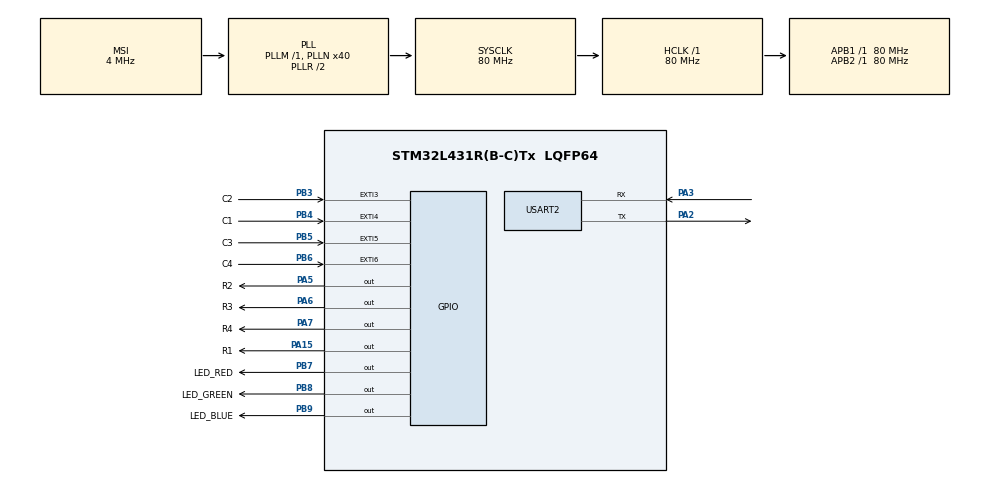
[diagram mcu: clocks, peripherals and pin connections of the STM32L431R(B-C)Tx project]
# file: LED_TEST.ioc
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Mcu.Family=STM32L4
Mcu.Name=STM32L431R(B-C)Tx
Mcu.Package=LQFP64
NVIC.EXTI3_IRQn=true\:1\:0\:true\:false\:true\:true\:true\:true
NVIC.EXTI4_IRQn=true\:1\:0\:true\:false\:true\:true\:true\:true
NVIC.EXTI9_5_IRQn=true\:1\:0\:true\:false\:true\:true\:true\:true
NVIC.PriorityGroup=NVIC_PRIORITYGROUP_4
NVIC.TIM6_DAC_IRQn=true\:0\:0\:false\:false\:true\:true\:true\:true
NVIC.USART2_IRQn=true\:1\:0\:true\:false\:true\:true\:true\:true
PA15\ (JTDI).GPIO_Label=R1
PA15\ (JTDI).PinState=GPIO_PIN_SET
PA15\ (JTDI).Signal=GPIO_Output
PA2.Mode=Asynchronous
PA2.Signal=USART2_TX
PA3.Mode=Asynchronous
PA3.Signal=USART2_RX
PA5.GPIO_Label=R2
PA5.PinState=GPIO_PIN_SET
PA5.Signal=GPIO_Output
PA6.GPIO_Label=R3
PA6.PinState=GPIO_PIN_SET
PA6.Signal=GPIO_Output
PA7.GPIO_Label=R4
PA7.PinState=GPIO_PIN_SET
PA7.Signal=GPIO_Output
PB3\ (JTDO-TRACESWO).GPIO_Label=C2
PB3\ (JTDO-TRACESWO).GPIO_ModeDefaultEXTI=GPIO_MODE_IT_RISING
PB3\ (JTDO-TRACESWO).GPIO_PuPd=GPIO_PULLDOWN
PB3\ (JTDO-TRACESWO).Signal=GPXTI3
PB4\ (NJTRST).GPIO_Label=C1
PB4\ (NJTRST).GPIO_ModeDefaultEXTI=GPIO_MODE_IT_RISING
PB4\ (NJTRST).GPIO_PuPd=GPIO_PULLDOWN
PB4\ (NJTRST).Signal=GPXTI4
PB5.GPIO_Label=C3
PB5.GPIO_ModeDefaultEXTI=GPIO_MODE_IT_RISING
PB5.GPIO_PuPd=GPIO_PULLDOWN
PB5.Signal=GPXTI5
PB6.GPIO_Label=C4
PB6.GPIO_ModeDefaultEXTI=GPIO_MODE_IT_RISING
PB6.GPIO_PuPd=GPIO_PULLDOWN
PB6.Signal=GPXTI6
PB7.GPIO_Label=LED_RED
PB7.GPIO_Speed=GPIO_SPEED_FREQ_LOW
PB7.PinState=GPIO_PIN_SET
PB7.Signal=GPIO_Output
PB8.GPIO_Label=LED_GREEN
PB8.GPIO_ModeDefaultOutputPP=GPIO_MODE_OUTPUT_PP
PB8.GPIO_PuPd=GPIO_NOPULL
PB8.PinState=GPIO_PIN_SET
PB8.Signal=GPIO_Output
PB9.GPIO_Label=LED_BLUE
PB9.GPIO_ModeDefaultOutputPP=GPIO_MODE_OUTPUT_PP
PB9.GPIO_PuPd=GPIO_NOPULL
PB9.PinState=GPIO_PIN_SET
PB9.Signal=GPIO_Output
ProjectManager.HeapSize=0x200
ProjectManager.StackSize=0x400
ProjectManager.TargetToolchain=MDK-ARM V5
RCC.AHBFreq_Value=80000000
RCC.APB1Freq_Value=80000000
RCC.APB1TimFreq_Value=80000000
RCC.APB2Freq_Value=80000000
RCC.APB2TimFreq_Value=80000000
RCC.CortexFreq_Value=80000000
RCC.HCLKFreq_Value=80000000
RCC.HSE_VALUE=8000000
RCC.HSI48_VALUE=48000000
RCC.HSI_VALUE=16000000
RCC.LSE_VALUE=32768
RCC.MSI_VALUE=4000000
RCC.PLLN=40
RCC.SYSCLKFreq_VALUE=80000000
RCC.SYSCLKSource=RCC_SYSCLKSOURCE_PLLCLK
RCC.VCOOutputFreq_Value=160000000
TIM6.AutoReloadPreload=TIM_AUTORELOAD_PRELOAD_ENABLE
TIM6.Period=999
TIM6.Prescaler=47999
USART2.VirtualMode-Asynchronous=VM_ASYNC
VP_TIM6_VS_ClockSourceINT.Mode=Enable_Timer
board=custom

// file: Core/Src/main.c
/* USER CODE BEGIN Header */
/**
  ******************************************************************************
  * @file           : main.c
  * @brief          : Main program body
  ******************************************************************************
  * @attention
  *
  * Copyright (c) 2024 STMicroelectronics.
  * All rights reserved.
  *
  * This software is licensed under terms that can be found in the LICENSE file
  * in the root directory of this software component.
  * If no LICENSE file comes with this software, it is provided AS-IS.
  *
  ******************************************************************************
  */
/* USER CODE END Header */
#include "main.h"
#include "tim.h"
#include "usart.h"
#include "gpio.h"

/* USER CODE BEGIN Includes */
#include "key.h"
#include "led.h"
#include "stdio.h"
#include "string.h"
volatile uint8_t led_flashing; // 全局变量，用于控制LED闪烁状态
/* USER CODE END Includes */

/* USER CODE BEGIN PV */
uint8_t Udata[]="uart test \r\n";
/* USER CODE END PV */

void SystemClock_Config(void);

/* USER CODE BEGIN 0 */

void HAL_TIM_PeriodElapsedCallback(TIM_HandleTypeDef *htim)
{
    if (htim->Instance == TIM6)
    {
        if (led_flashing)
        {
            LED_Toggle(LED_BLUE); // 切换 LED 状态
        }
    }
}

/* USER CODE END 0 */

int main(void)
{

  /* MCU Configuration--------------------------------------------------------*/

  /* Reset of all peripherals, Initializes the Flash interface and the Systick. */
  HAL_Init();
    SystemClock_Config();
    MX_GPIO_Init();
    MX_USART2_UART_Init();
    MX_TIM6_Init(); // 初始化定时器

    HAL_TIM_Base_Start_IT(&htim6); // 启动定时器中断
  /* USER CODE BEGIN Init */
//uint8_t flag=0;
//uint8_t keyvalue = 0xff;
  /* USER CODE END Init */

  /* Configure the system clock */
  SystemClock_Config();

  /* Initialize all configured peripherals */
  MX_GPIO_Init();
  MX_USART2_UART_Init();
  MX_TIM6_Init();
  /* USER CODE BEGIN 2 */
	LED_On(LED_GREEN);
	HAL_Delay(2000);
	LED_Off(LED_GREEN);  //??????
	HAL_GPIO_WritePin(R1_GPIO_Port,R1_Pin,GPIO_PIN_SET);  //??R1????
	printf("usart is ok\r\n");
	HAL_UART_Transmit(&huart2,Udata,sizeof(Udata),0xff);
	HAL_UART_Transmit(&huart2,(uint8_t *)"uart test2\r\n",sizeof("uart test2\r\n"),0xff);
	HAL_UART_Receive_IT(&huart2,&pBufferNew,1);
  /* USER CODE END 2 */

  /* Infinite loop */
  while (1)
  {

    /* USER CODE BEGIN 3 */

//	if(	HAL_UART_Receive(&huart2,&Rxdata,1,0xff)==HAL_OK)
//	{
//		HAL_UART_Transmit(&huart2,&Rxdata,1,0xff);
//	}

   }
  /* USER CODE END 3 */
}

void SystemClock_Config(void)
{
  RCC_OscInitTypeDef RCC_OscInitStruct = {0};
  RCC_ClkInitTypeDef RCC_ClkInitStruct = {0};

  /** Configure the main internal regulator output voltage
  */
  if (HAL_PWREx_ControlVoltageScaling(PWR_REGULATOR_VOLTAGE_SCALE1) != HAL_OK)
  {
    Error_Handler();
  }

  /** Initializes the RCC Oscillators according to the specified parameters
  * in the RCC_OscInitTypeDef structure.
  */
  RCC_OscInitStruct.OscillatorType = RCC_OSCILLATORTYPE_MSI;
  RCC_OscInitStruct.MSIState = RCC_MSI_ON;
  RCC_OscInitStruct.MSICalibrationValue = 0;
  RCC_OscInitStruct.MSIClockRange = RCC_MSIRANGE_6;
  RCC_OscInitStruct.PLL.PLLState = RCC_PLL_ON;
  RCC_OscInitStruct.PLL.PLLSource = RCC_PLLSOURCE_MSI;
  RCC_OscInitStruct.PLL.PLLM = 1;
  RCC_OscInitStruct.PLL.PLLN = 40;
  RCC_OscInitStruct.PLL.PLLP = RCC_PLLP_DIV7;
  RCC_OscInitStruct.PLL.PLLQ = RCC_PLLQ_DIV2;
  RCC_OscInitStruct.PLL.PLLR = RCC_PLLR_DIV2;
  if (HAL_RCC_OscConfig(&RCC_OscInitStruct) != HAL_OK)
  {
    Error_Handler();
  }

  /** Initializes the CPU, AHB and APB buses clocks
  */
  RCC_ClkInitStruct.ClockType = RCC_CLOCKTYPE_HCLK|RCC_CLOCKTYPE_SYSCLK
                              |RCC_CLOCKTYPE_PCLK1|RCC_CLOCKTYPE_PCLK2;
  RCC_ClkInitStruct.SYSCLKSource = RCC_SYSCLKSOURCE_PLLCLK;
  RCC_ClkInitStruct.AHBCLKDivider = RCC_SYSCLK_DIV1;
  RCC_ClkInitStruct.APB1CLKDivider = RCC_HCLK_DIV1;
  RCC_ClkInitStruct.APB2CLKDivider = RCC_HCLK_DIV1;

  if (HAL_RCC_ClockConfig(&RCC_ClkInitStruct, FLASH_LATENCY_4) != HAL_OK)
  {
    Error_Handler();
  }
}

void Error_Handler(void)
{
  __disable_irq();
  while (1)
  {
  }
}
